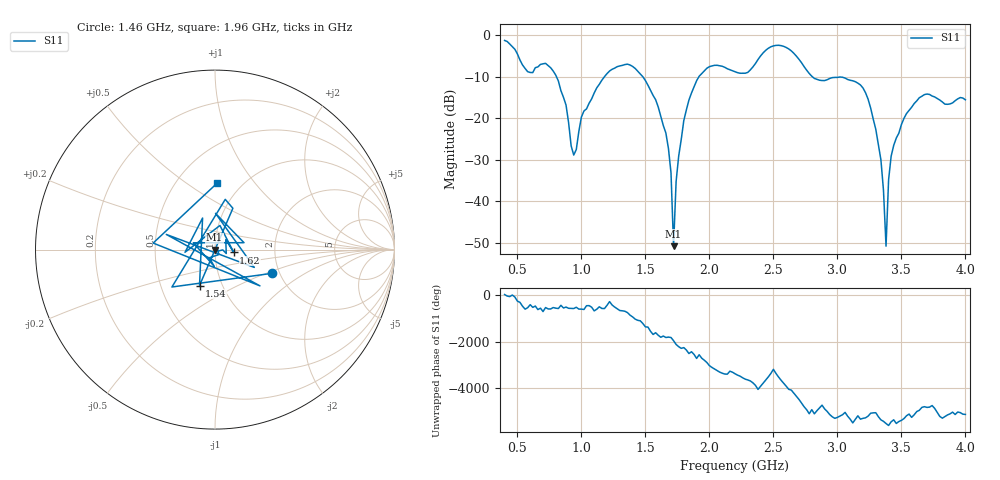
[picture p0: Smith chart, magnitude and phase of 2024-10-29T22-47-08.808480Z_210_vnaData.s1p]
!Created with skrf (http://scikit-rf.org).
# Hz S RI R 50.0
!freq ReS11 ImS11
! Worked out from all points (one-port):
!   181 points, 400 MHz to 4 GHz, reference 50 ohm
!   lowest |S11| = -50.9 dB at 1.72 GHz (marker M1), VSWR 1.01, Z = 49.7 - j0.116 ohm
!   |S11| at or under -10 dB: 805.9 MHz to 1.179 GHz (373.1 MHz wide, 37.6 % of centre); 1.481 GHz to 1.917 GHz (436.2 MHz wide, 25.7 % of centre); 2.806 GHz to end of sweep
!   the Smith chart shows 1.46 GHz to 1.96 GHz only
!   S11 on the Smith chart (normalised r, x): 1.46 GHz: 1.82, -0.55; 1.54 GHz: 0.78, -0.33; 1.62 GHz: 1.23, -0.04; 1.96 GHz: 0.78, +0.67
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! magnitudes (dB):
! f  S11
! 400 MHz  -1.2
! 580 MHz  -8.7
! 760 MHz  -7.8
! 860 MHz  -14.9
! 940 MHz  -28.9
! 1.02 GHz  -18.2
! 1.3 GHz  -7.4
! 1.46 GHz  -9.3
! 1.54 GHz  -13.2
! 1.62 GHz  -19.5
! 1.7 GHz  -33.2
! 1.72 GHz  -50.9
! 1.74 GHz  -35.2
! 1.76 GHz  -29.1
! 1.84 GHz  -15.6
! 1.96 GHz  -8.6
! 2.2 GHz  -8.7
! 2.66 GHz  -4.3
! 2.82 GHz  -10.4
! 3.1 GHz  -10.8
! 3.22 GHz  -13.8
! 3.3 GHz  -22.7
! 3.34 GHz  -30.0
! 3.38 GHz  -50.9
! 3.4 GHz  -34.8
! 3.42 GHz  -29.1
! 3.56 GHz  -18.1
! 4 GHz  -15.5
